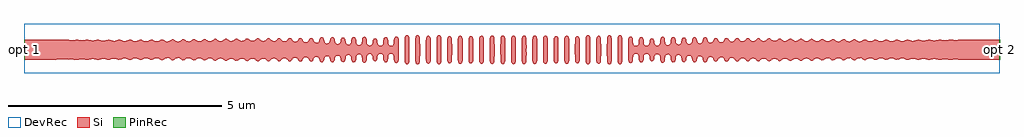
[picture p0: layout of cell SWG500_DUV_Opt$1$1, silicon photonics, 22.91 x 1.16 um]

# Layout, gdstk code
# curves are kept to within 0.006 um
import gdstk
lib = gdstk.Library(unit=1e-6, precision=1e-09)
def R(c, l, rs):  # rectangles x0, y0, x1, y1
    for r in rs: c.add(gdstk.rectangle(r[:2], r[2:], *l))
def P(c, l, *ps):  # polygons
    for p in ps: c.add(gdstk.Polygon(p, *l))
Si = (1, 0)
PinRec = (1, 10)
DevRec = (68, 0)

swg500_duv_opt_1_1 = lib.new_cell('SWG500_DUV_Opt$1$1')
P(swg500_duv_opt_1_1, Si, [(-22.171,-241.241),(-22.192,-241.234),(-22.218,-241.192),(-22.226,-241.091),(-22.237,-241.057),(-22.27,-241.023),(-22.298,-241.021),(-22.325,-241.024),(-22.348,-241.046),(-22.363,-241.091),(-22.369,-241.175),(-22.398,-241.22),(-22.42,-241.226),(-22.444,-241.217),(-22.469,-241.176),(-22.488,-241.051),(-22.518,-241.024),(-22.545,-241.022),(-22.573,-241.025),(-22.601,-241.052),(-22.626,-241.162),(-22.647,-241.188),(-22.669,-241.196),(-22.7,-241.183),(-22.718,-241.157),(-22.735,-241.069),(-22.755,-241.04),(-22.792,-241.029),(-22.834,-241.04),(-22.856,-241.067),(-22.866,-241.161),(-22.881,-241.205),(-22.896,-241.225),(-22.918,-241.233),(-22.945,-241.224),(-22.968,-241.191),(-22.981,-241.086),(-22.992,-241.064),(-23.011,-241.044),(-23.039,-241.037),(-23.066,-241.04),(-23.094,-241.058),(-23.109,-241.086),(-23.118,-241.175),(-23.138,-241.211),(-23.166,-241.228),(-23.201,-241.214),(-23.222,-241.175),(-23.237,-241.083),(-23.257,-241.061),(-23.284,-241.049),(-23.341,-241.066),(-23.36,-241.106),(-23.371,-241.174),(-23.404,-241.214),(-23.432,-241.216),(-23.458,-241.196),(-23.487,-241.101),(-23.53,-241.065),(-23.561,-241.067),(-23.589,-241.081),(-23.603,-241.101),(-23.625,-241.189),(-23.647,-241.216),(-23.675,-241.223),(-23.711,-241.197),(-23.734,-241.121),(-23.748,-241.097),(-23.776,-241.078),(-23.808,-241.078),(-23.842,-241.096),(-23.876,-241.191),(-23.896,-241.216),(-23.924,-241.223),(-23.957,-241.203),(-23.996,-241.115),(-24.024,-241.096),(-24.054,-241.093),(-24.095,-241.114),(-24.137,-241.191),(-24.173,-241.206),(-24.208,-241.185),(-24.246,-241.122),(-24.285,-241.106),(-24.324,-241.11),(-24.338,-241.12),(-24.383,-241.186),(-24.421,-241.206),(-24.456,-241.188),(-24.495,-241.133),(-24.545,-241.118),(-24.596,-241.133),(-24.634,-241.187),(-24.669,-241.206),(-24.692,-241.199),(-24.755,-241.135),(-24.816,-241.126),(-24.842,-241.136),(-24.885,-241.184),(-24.918,-241.202),(-24.941,-241.196),(-25.016,-241.135),(-25.063,-241.133),(-25.093,-241.144),(-25.143,-241.191),(-25.167,-241.2),(-25.196,-241.191),(-25.255,-241.143),(-25.287,-241.137),(-25.333,-241.141),(-25.404,-241.194),(-25.427,-241.197),(-25.498,-241.148),(-25.535,-241.138),(-25.603,-241.152),(-25.664,-241.194),(-25.687,-241.191),(-25.736,-241.153),(-25.782,-241.137),(-25.827,-241.139),(-25.901,-241.188),(-25.924,-241.192),(-26.028,-241.135),(-26.087,-241.142),(-26.141,-241.18),(-26.172,-241.19),(-26.275,-241.132),(-26.322,-241.131),(-26.421,-241.185),(-26.523,-241.13),(-26.591,-241.136),(-26.67,-241.181),(-26.694,-241.174),(-26.747,-241.136),(-26.793,-241.125),(-26.838,-241.132),(-26.919,-241.179),(-27.018,-241.126),(-27.086,-241.129),(-27.173,-241.177),(-27.243,-241.136),(-27.287,-241.123),(-27.333,-241.128),(-27.415,-241.174),(-27.44,-241.17),(-27.5,-241.132),(-27.534,-241.123),(-27.58,-241.127),(-27.664,-241.171),(-27.688,-241.168),(-27.759,-241.129),(-27.805,-241.124),(-27.912,-241.168),(-27.948,-241.161),(-28.008,-241.131),(-28.052,-241.125),(-28.161,-241.165),(-28.298,-241.128),(-28.409,-241.164),(-28.546,-241.132),(-28.677,-241.164),(-28.804,-241.136),(-28.911,-241.162),(-29.047,-241.14),(-29.151,-241.161),(-29.308,-241.145),(-29.431,-241.162),(-29.565,-241.151),(-29.662,-241.162),(-30.9,-241.167),(-30.9,-240.693),(-29.662,-240.698),(-29.556,-240.709),(-29.431,-240.698),(-29.308,-240.715),(-29.159,-240.698),(-29.062,-240.72),(-28.911,-240.698),(-28.804,-240.724),(-28.663,-240.696),(-28.546,-240.728),(-28.409,-240.696),(-28.299,-240.732),(-28.256,-240.726),(-28.168,-240.694),(-28.052,-240.735),(-28.019,-240.732),(-27.912,-240.692),(-27.826,-240.733),(-27.782,-240.735),(-27.664,-240.689),(-27.592,-240.728),(-27.535,-240.736),(-27.416,-240.686),(-27.333,-240.732),(-27.298,-240.737),(-27.265,-240.734),(-27.191,-240.688),(-27.167,-240.683),(-27.086,-240.73),(-27.039,-240.736),(-27.003,-240.728),(-26.919,-240.681),(-26.836,-240.728),(-26.77,-240.733),(-26.67,-240.679),(-26.591,-240.724),(-26.546,-240.733),(-26.5,-240.723),(-26.421,-240.675),(-26.344,-240.719),(-26.298,-240.73),(-26.252,-240.721),(-26.173,-240.67),(-26.151,-240.674),(-26.075,-240.723),(-26.028,-240.725),(-25.918,-240.668),(-25.838,-240.716),(-25.804,-240.724),(-25.759,-240.719),(-25.687,-240.669),(-25.664,-240.666),(-25.58,-240.719),(-25.535,-240.722),(-25.488,-240.707),(-25.427,-240.663),(-25.404,-240.666),(-25.333,-240.719),(-25.298,-240.725),(-25.252,-240.716),(-25.189,-240.665),(-25.167,-240.66),(-25.143,-240.669),(-25.087,-240.719),(-25.051,-240.727),(-25.016,-240.725),(-24.941,-240.664),(-24.918,-240.658),(-24.891,-240.671),(-24.842,-240.724),(-24.816,-240.734),(-24.757,-240.727),(-24.703,-240.669),(-24.669,-240.654),(-24.637,-240.669),(-24.597,-240.725),(-24.57,-240.74),(-24.522,-240.741),(-24.49,-240.723),(-24.449,-240.665),(-24.421,-240.654),(-24.387,-240.669),(-24.339,-240.742),(-24.273,-240.753),(-24.246,-240.738),(-24.203,-240.669),(-24.167,-240.654),(-24.137,-240.67),(-24.102,-240.736),(-24.079,-240.759),(-24.054,-240.766),(-24.025,-240.765),(-23.996,-240.748),(-23.953,-240.651),(-23.918,-240.637),(-23.888,-240.651),(-23.849,-240.753),(-23.807,-240.783),(-23.749,-240.766),(-23.711,-240.663),(-23.687,-240.641),(-23.669,-240.637),(-23.652,-240.641),(-23.628,-240.666),(-23.597,-240.772),(-23.56,-240.796),(-23.53,-240.796),(-23.501,-240.781),(-23.463,-240.671),(-23.438,-240.646),(-23.405,-240.646),(-23.373,-240.681),(-23.356,-240.767),(-23.341,-240.793),(-23.314,-240.809),(-23.284,-240.811),(-23.257,-240.802),(-23.233,-240.766),(-23.226,-240.7),(-23.204,-240.65),(-23.166,-240.632),(-23.136,-240.65),(-23.121,-240.679),(-23.111,-240.763),(-23.094,-240.802),(-23.066,-240.82),(-23.039,-240.822),(-23.011,-240.814),(-22.987,-240.786),(-22.971,-240.678),(-22.952,-240.642),(-22.918,-240.627),(-22.896,-240.636),(-22.88,-240.656),(-22.864,-240.708),(-22.859,-240.784),(-22.845,-240.809),(-22.818,-240.829),(-22.765,-240.827),(-22.742,-240.808),(-22.718,-240.704),(-22.699,-240.677),(-22.67,-240.664),(-22.647,-240.672),(-22.621,-240.709),(-22.603,-240.805),(-22.573,-240.835),(-22.546,-240.839),(-22.518,-240.836),(-22.489,-240.81),(-22.478,-240.782),(-22.469,-240.684),(-22.451,-240.65),(-22.42,-240.634),(-22.398,-240.64),(-22.373,-240.677),(-22.353,-240.805),(-22.326,-240.835),(-22.289,-240.839),(-22.27,-240.838),(-22.237,-240.806),(-22.216,-240.662),(-22.193,-240.628),(-22.171,-240.619),(-22.138,-240.634),(-22.125,-240.658),(-22.114,-240.758),(-22.115,-241.163),(-22.135,-241.221)],
  [(-16.669,-241.241),(-16.693,-241.234),(-16.713,-241.207),(-16.726,-241.112),(-16.725,-240.699),(-16.702,-240.635),(-16.669,-240.619),(-16.647,-240.628),(-16.625,-240.662),(-16.603,-240.806),(-16.582,-240.83),(-16.556,-240.839),(-16.515,-240.835),(-16.485,-240.805),(-16.468,-240.679),(-16.442,-240.64),(-16.42,-240.634),(-16.389,-240.65),(-16.373,-240.679),(-16.352,-240.809),(-16.323,-240.835),(-16.296,-240.838),(-16.269,-240.835),(-16.24,-240.811),(-16.211,-240.692),(-16.193,-240.672),(-16.171,-240.664),(-16.147,-240.672),(-16.125,-240.699),(-16.098,-240.808),(-16.075,-240.826),(-16.022,-240.83),(-15.993,-240.807),(-15.981,-240.784),(-15.975,-240.7),(-15.963,-240.663),(-15.944,-240.636),(-15.922,-240.627),(-15.9,-240.632),(-15.875,-240.663),(-15.854,-240.786),(-15.831,-240.814),(-15.803,-240.822),(-15.774,-240.821),(-15.747,-240.803),(-15.729,-240.763),(-15.719,-240.679),(-15.704,-240.65),(-15.674,-240.632),(-15.65,-240.638),(-15.626,-240.665),(-15.607,-240.766),(-15.593,-240.792),(-15.557,-240.811),(-15.527,-240.81),(-15.499,-240.793),(-15.483,-240.767),(-15.467,-240.681),(-15.436,-240.646),(-15.403,-240.646),(-15.377,-240.671),(-15.339,-240.78),(-15.31,-240.795),(-15.281,-240.796),(-15.245,-240.773),(-15.206,-240.658),(-15.188,-240.641),(-15.165,-240.637),(-15.129,-240.663),(-15.091,-240.766),(-15.035,-240.783),(-14.99,-240.753),(-14.957,-240.658),(-14.917,-240.637),(-14.887,-240.651),(-14.844,-240.746),(-14.817,-240.765),(-14.788,-240.766),(-14.761,-240.759),(-14.733,-240.729),(-14.704,-240.67),(-14.668,-240.654),(-14.637,-240.669),(-14.603,-240.727),(-14.569,-240.754),(-14.515,-240.752),(-14.49,-240.731),(-14.453,-240.669),(-14.419,-240.654),(-14.387,-240.669),(-14.347,-240.725),(-14.307,-240.742),(-14.27,-240.741),(-14.245,-240.726),(-14.194,-240.662),(-14.171,-240.654),(-14.137,-240.669),(-14.085,-240.726),(-14.025,-240.734),(-13.976,-240.704),(-13.945,-240.667),(-13.922,-240.659),(-13.899,-240.664),(-13.849,-240.712),(-13.824,-240.724),(-13.778,-240.727),(-13.743,-240.714),(-13.699,-240.671),(-13.674,-240.66),(-13.644,-240.668),(-13.6,-240.709),(-13.555,-240.724),(-13.507,-240.72),(-13.446,-240.672),(-13.413,-240.663),(-13.352,-240.707),(-13.307,-240.722),(-13.26,-240.719),(-13.188,-240.669),(-13.165,-240.666),(-13.083,-240.718),(-13.059,-240.724),(-13.014,-240.721),(-12.94,-240.673),(-12.916,-240.668),(-12.835,-240.718),(-12.789,-240.725),(-12.744,-240.714),(-12.691,-240.675),(-12.667,-240.669),(-12.565,-240.728),(-12.497,-240.72),(-12.419,-240.675),(-12.317,-240.73),(-12.264,-240.729),(-12.171,-240.679),(-12.146,-240.686),(-12.093,-240.723),(-12.048,-240.735),(-12.002,-240.728),(-11.922,-240.681),(-11.824,-240.734),(-11.767,-240.734),(-11.667,-240.683),(-11.576,-240.733),(-11.53,-240.737),(-11.425,-240.686),(-11.305,-240.736),(-11.261,-240.733),(-11.176,-240.689),(-11.058,-240.735),(-11.014,-240.733),(-10.928,-240.692),(-10.903,-240.695),(-10.834,-240.728),(-10.789,-240.735),(-10.672,-240.694),(-10.584,-240.726),(-10.541,-240.732),(-10.432,-240.696),(-10.294,-240.728),(-10.177,-240.697),(-10.046,-240.724),(-9.929,-240.698),(-9.779,-240.72),(-9.689,-240.699),(-9.532,-240.715),(-9.409,-240.698),(-9.275,-240.709),(-9.178,-240.698),(-8.01,-240.693),(-8.01,-241.167),(-9.178,-241.162),(-9.284,-241.151),(-9.409,-241.162),(-9.532,-241.145),(-9.689,-241.161),(-9.777,-241.14),(-9.929,-241.162),(-10.046,-241.136),(-10.177,-241.164),(-10.294,-241.132),(-10.425,-241.165),(-10.542,-241.128),(-10.673,-241.166),(-10.789,-241.125),(-10.843,-241.135),(-10.891,-241.161),(-10.928,-241.168),(-11.037,-241.123),(-11.08,-241.129),(-11.152,-241.168),(-11.176,-241.171),(-11.261,-241.127),(-11.307,-241.123),(-11.425,-241.174),(-11.508,-241.128),(-11.553,-241.123),(-11.599,-241.136),(-11.643,-241.168),(-11.673,-241.177),(-11.755,-241.13),(-11.824,-241.126),(-11.898,-241.173),(-11.922,-241.179),(-12.002,-241.131),(-12.048,-241.125),(-12.093,-241.136),(-12.146,-241.174),(-12.171,-241.181),(-12.249,-241.137),(-12.317,-241.13),(-12.419,-241.185),(-12.508,-241.136),(-12.565,-241.132),(-12.667,-241.191),(-12.691,-241.185),(-12.767,-241.137),(-12.835,-241.142),(-12.916,-241.192),(-12.94,-241.187),(-13.006,-241.142),(-13.059,-241.137),(-13.094,-241.147),(-13.165,-241.194),(-13.188,-241.191),(-13.259,-241.142),(-13.307,-241.138),(-13.352,-241.154),(-13.413,-241.197),(-13.449,-241.186),(-13.507,-241.141),(-13.543,-241.136),(-13.585,-241.143),(-13.651,-241.196),(-13.674,-241.2),(-13.691,-241.195),(-13.747,-241.144),(-13.779,-241.133),(-13.843,-241.144),(-13.886,-241.187),(-13.922,-241.202),(-13.945,-241.193),(-14,-241.135),(-14.048,-241.127),(-14.098,-241.142),(-14.148,-241.2),(-14.171,-241.206),(-14.194,-241.198),(-14.245,-241.133),(-14.282,-241.117),(-14.319,-241.118),(-14.339,-241.128),(-14.389,-241.193),(-14.419,-241.206),(-14.458,-241.186),(-14.49,-241.129),(-14.516,-241.11),(-14.55,-241.106),(-14.595,-241.124),(-14.645,-241.198),(-14.674,-241.206),(-14.708,-241.185),(-14.745,-241.114),(-14.788,-241.093),(-14.818,-241.096),(-14.844,-241.115),(-14.883,-241.203),(-14.917,-241.223),(-14.944,-241.216),(-14.965,-241.191),(-14.998,-241.095),(-15.034,-241.078),(-15.063,-241.078),(-15.099,-241.108),(-15.129,-241.197),(-15.165,-241.223),(-15.193,-241.216),(-15.215,-241.189),(-15.237,-241.101),(-15.253,-241.08),(-15.31,-241.066),(-15.339,-241.081),(-15.353,-241.102),(-15.368,-241.173),(-15.387,-241.201),(-15.413,-241.217),(-15.436,-241.214),(-15.469,-241.173),(-15.487,-241.083),(-15.518,-241.055),(-15.556,-241.049),(-15.585,-241.061),(-15.603,-241.083),(-15.626,-241.194),(-15.643,-241.217),(-15.674,-241.228),(-15.696,-241.217),(-15.722,-241.175),(-15.729,-241.098),(-15.743,-241.063),(-15.774,-241.039),(-15.803,-241.037),(-15.83,-241.044),(-15.849,-241.064),(-15.872,-241.191),(-15.9,-241.228),(-15.922,-241.233),(-15.957,-241.209),(-15.974,-241.161),(-15.984,-241.067),(-16.021,-241.031),(-16.085,-241.04),(-16.106,-241.07),(-16.123,-241.158),(-16.14,-241.183),(-16.171,-241.196),(-16.2,-241.183),(-16.214,-241.162),(-16.231,-241.069),(-16.245,-241.044),(-16.269,-241.025),(-16.297,-241.022),(-16.322,-241.025),(-16.352,-241.052),(-16.371,-241.175),(-16.39,-241.211),(-16.42,-241.226),(-16.442,-241.22),(-16.471,-241.175),(-16.486,-241.056),(-16.516,-241.025),(-16.541,-241.021),(-16.569,-241.023),(-16.599,-241.048),(-16.614,-241.091),(-16.622,-241.193),(-16.641,-241.227)],
  [(-21.923,-241.27),(-21.95,-241.255),(-21.969,-241.212),(-21.977,-241.023),(-21.972,-240.661),(-21.956,-240.613),(-21.923,-240.59),(-21.893,-240.6),(-21.871,-240.641),(-21.863,-240.795),(-21.866,-241.198),(-21.888,-241.256)],
  [(-21.674,-241.27),(-21.705,-241.248),(-21.723,-241.198),(-21.726,-240.811),(-21.718,-240.641),(-21.697,-240.6),(-21.664,-240.59),(-21.633,-240.613),(-21.616,-240.664),(-21.613,-241.049),(-21.621,-241.22),(-21.638,-241.256)],
  [(-21.426,-241.258),(-21.454,-241.239),(-21.474,-241.181),(-21.476,-240.812),(-21.468,-240.651),(-21.448,-240.615),(-21.415,-240.602),(-21.38,-240.63),(-21.366,-240.673),(-21.363,-241.041),(-21.371,-241.21),(-21.397,-241.252)],
  [(-21.172,-241.271),(-21.202,-241.256),(-21.223,-241.198),(-21.226,-240.812),(-21.216,-240.632),(-21.197,-240.599),(-21.166,-240.589),(-21.133,-240.612),(-21.117,-240.659),(-21.113,-241.04),(-21.121,-241.22),(-21.138,-241.256)],
  [(-20.917,-241.247),(-20.951,-241.23),(-20.973,-241.179),(-20.976,-241.04),(-20.974,-240.69),(-20.953,-240.632),(-20.917,-240.613),(-20.896,-240.622),(-20.872,-240.66),(-20.863,-240.812),(-20.866,-241.171),(-20.882,-241.222)],
  [(-20.669,-241.259),(-20.698,-241.247),(-20.721,-241.196),(-20.726,-241.04),(-20.723,-240.673),(-20.7,-240.615),(-20.669,-240.601),(-20.639,-240.616),(-20.621,-240.652),(-20.613,-240.812),(-20.616,-241.188),(-20.635,-241.239)],
  [(-20.42,-241.25),(-20.449,-241.237),(-20.469,-241.195),(-20.476,-241.04),(-20.474,-240.69),(-20.454,-240.631),(-20.42,-240.61),(-20.398,-240.616),(-20.371,-240.659),(-20.363,-240.812),(-20.366,-241.18),(-20.386,-241.232)],
  [(-20.172,-241.26),(-20.193,-241.252),(-20.218,-241.211),(-20.226,-241.04),(-20.223,-240.673),(-20.206,-240.623),(-20.172,-240.6),(-20.137,-240.616),(-20.121,-240.65),(-20.113,-240.812),(-20.117,-241.196),(-20.137,-241.244)],
  [(-19.923,-241.264),(-19.947,-241.254),(-19.972,-241.198),(-19.976,-240.812),(-19.968,-240.642),(-19.945,-240.605),(-19.917,-240.596),(-19.887,-240.614),(-19.867,-240.673),(-19.864,-241.049),(-19.874,-241.219),(-19.893,-241.254)],
  [(-19.674,-241.264),(-19.701,-241.249),(-19.722,-241.197),(-19.725,-240.812),(-19.719,-240.649),(-19.696,-240.606),(-19.669,-240.595),(-19.636,-240.614),(-19.615,-240.673),(-19.612,-241.015),(-19.616,-241.197),(-19.642,-241.254)],
  [(-19.426,-241.264),(-19.458,-241.24),(-19.474,-241.197),(-19.477,-240.83),(-19.467,-240.642),(-19.441,-240.602),(-19.414,-240.595),(-19.386,-240.614),(-19.367,-240.664),(-19.363,-241.015),(-19.367,-241.197),(-19.393,-241.254)],
  [(-19.177,-241.264),(-19.208,-241.24),(-19.224,-241.189),(-19.227,-240.821),(-19.221,-240.657),(-19.199,-240.609),(-19.166,-240.596),(-19.131,-240.622),(-19.118,-240.672),(-19.114,-241.04),(-19.124,-241.219),(-19.144,-241.255)],
  [(-18.918,-241.265),(-18.948,-241.254),(-18.973,-241.197),(-18.977,-241.04),(-18.971,-240.657),(-18.951,-240.611),(-18.918,-240.596),(-18.895,-240.605),(-18.872,-240.642),(-18.864,-240.812),(-18.867,-241.189),(-18.884,-241.241)],
  [(-18.669,-241.26),(-18.698,-241.248),(-18.723,-241.196),(-18.727,-241.058),(-18.723,-240.665),(-18.707,-240.623),(-18.687,-240.603),(-18.669,-240.6),(-18.647,-240.609),(-18.624,-240.643),(-18.614,-240.812),(-18.616,-241.18),(-18.636,-241.239)],
  [(-18.42,-241.25),(-18.45,-241.237),(-18.468,-241.205),(-18.477,-241.04),(-18.475,-240.69),(-18.454,-240.629),(-18.42,-240.61),(-18.399,-240.617),(-18.372,-240.658),(-18.364,-240.812),(-18.368,-241.18),(-18.391,-241.237)],
  [(-18.171,-241.259),(-18.194,-241.252),(-18.219,-241.211),(-18.227,-241.04),(-18.223,-240.665),(-18.201,-240.616),(-18.171,-240.601),(-18.138,-240.617),(-18.124,-240.644),(-18.114,-240.812),(-18.117,-241.188),(-18.138,-241.242)],
  [(-17.923,-241.247),(-17.947,-241.236),(-17.969,-241.195),(-17.977,-241.04),(-17.975,-240.69),(-17.957,-240.637),(-17.923,-240.613),(-17.901,-240.619),(-17.875,-240.652),(-17.866,-240.69),(-17.864,-240.812),(-17.867,-241.179),(-17.889,-241.231)],
  [(-17.674,-241.271),(-17.702,-241.256),(-17.721,-241.212),(-17.727,-241.04),(-17.723,-240.656),(-17.709,-240.614),(-17.674,-240.589),(-17.644,-240.599),(-17.624,-240.633),(-17.614,-240.812),(-17.617,-241.198),(-17.641,-241.258)],
  [(-17.426,-241.258),(-17.455,-241.239),(-17.474,-241.181),(-17.477,-240.812),(-17.469,-240.651),(-17.448,-240.613),(-17.42,-240.602),(-17.392,-240.614),(-17.367,-240.673),(-17.364,-241.049),(-17.373,-241.21),(-17.398,-241.252)],
  [(-17.177,-241.27),(-17.202,-241.256),(-17.224,-241.198),(-17.225,-240.688),(-17.207,-240.613),(-17.188,-240.594),(-17.166,-240.59),(-17.131,-240.617),(-17.117,-240.664),(-17.114,-241.058),(-17.122,-241.22),(-17.139,-241.256)],
  [(-16.923,-241.27),(-16.952,-241.256),(-16.974,-241.198),(-16.977,-240.812),(-16.969,-240.641),(-16.947,-240.6),(-16.917,-240.59),(-16.884,-240.613),(-16.868,-240.659),(-16.863,-241.023),(-16.871,-241.212),(-16.89,-241.255)])
R(swg500_duv_opt_1_1, DevRec, [(-30.9,-241.48,-8.01,-240.32)])
swg500_duv_opt_1_1.add(gdstk.FlexPath([(-8.02,-240.93),(-8,-240.93)], 0.472, ends="flush", simple_path=True, layer=1, datatype=10))  # PinRec
swg500_duv_opt_1_1.add(gdstk.FlexPath([(-30.89,-240.93),(-30.91,-240.93)], 0.472, ends="flush", simple_path=True, layer=1, datatype=10))  # PinRec
swg500_duv_opt_1_1.add(gdstk.Label('opt 2', (-8.01,-240.93), layer=1, texttype=10))
swg500_duv_opt_1_1.add(gdstk.Label('opt 1', (-30.9,-240.93), layer=1, texttype=10))

lib.write_gds('SWG500_DUV_Opt_1_1.gds')
